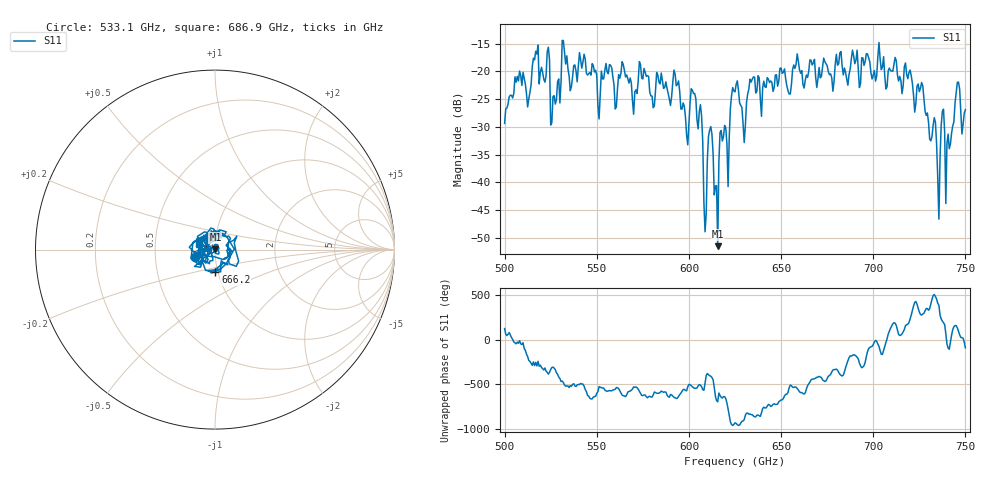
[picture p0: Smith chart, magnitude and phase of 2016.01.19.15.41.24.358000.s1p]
!Created with skrf (http://scikit-rf.org).
# GHz S RI R 50.0
!freq ReS11 ImS11
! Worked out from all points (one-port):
!   401 points, 500 GHz to 750 GHz, reference 50 ohm
!   lowest |S11| = -51.5 dB at 615.6 GHz (marker M1), VSWR 1.01, Z = 50.2 + j0.115 ohm
!   |S11| at or under -10 dB: start of sweep to end of sweep
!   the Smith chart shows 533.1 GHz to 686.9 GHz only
!   S11 on the Smith chart (normalised r, x): 533.1 GHz: 0.80, -0.07; 666.2 GHz: 0.97, -0.25; 686.9 GHz: 0.84, +0.06
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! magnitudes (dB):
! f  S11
! 500 GHz  -29.4
! 506.9 GHz  -20.9
! 513.1 GHz  -24.9
! 516.9 GHz  -16.4
! 526.2 GHz  -24.5
! 531.2 GHz  -14.4
! 533.1 GHz  -18.7
! 562.5 GHz  -21.2
! 593.8 GHz  -22.4
! 598.8 GHz  -31.5
! 602.5 GHz  -24.0
! 606.2 GHz  -26.0
! 608.8 GHz  -48.9
! 611.9 GHz  -30.0
! 615.6 GHz  -51.5
! 625 GHz  -23.7
! 629.4 GHz  -29.4
! 634.4 GHz  -21.4
! 656.2 GHz  -19.7
! 666.2 GHz  -18.0
! 686.9 GHz  -20.5
! 687.5 GHz  -19.6
! 718.8 GHz  -21.3
! 735 GHz  -39.2
! 737.5 GHz  -27.2
! 740.6 GHz  -31.3
! 745.6 GHz  -22.0
! 750 GHz  -26.9
